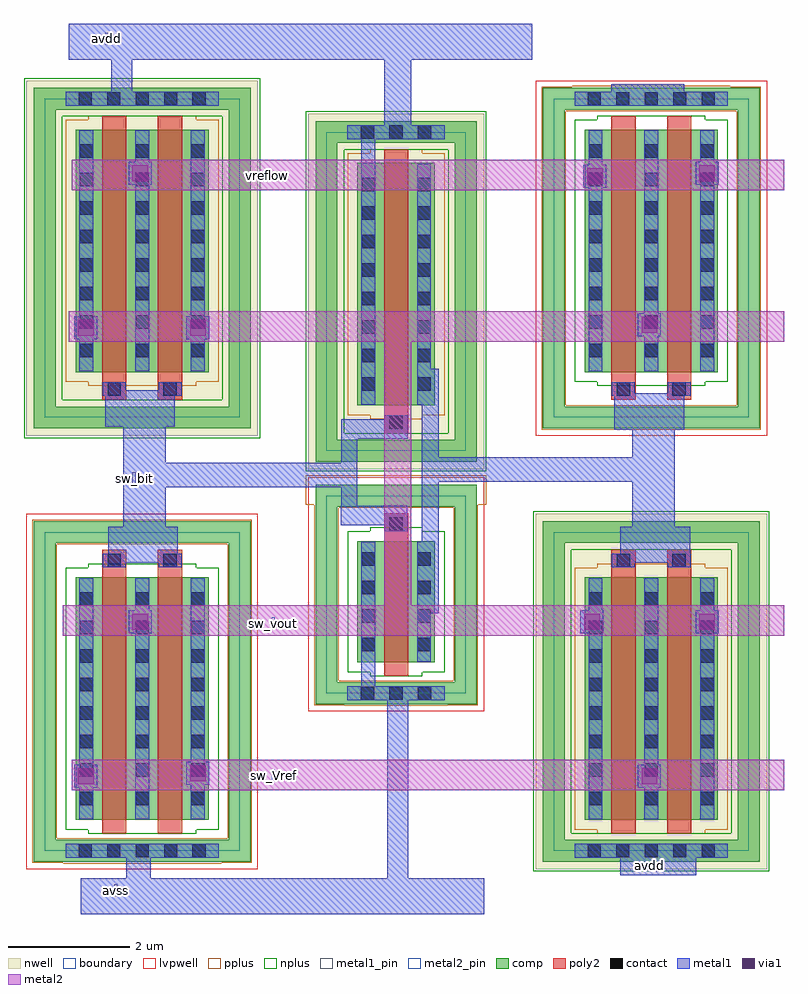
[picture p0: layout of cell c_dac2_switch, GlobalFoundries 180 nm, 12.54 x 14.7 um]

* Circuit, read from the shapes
.subckt c_dac2_switch avdd avss sw_Vref sw_bit sw_vout vreflow
XM1 sw_vout sw_bit sw_Vref avss nfet_03v3 w=4u l=0.4u m=2
XM2 CDAC_INV_V0_4/out sw_bit avss avss nfet_03v3 w=2u l=0.4u
XM3 sw_vout CDAC_INV_V0_4/out vreflow avss nfet_03v3 w=4u l=0.4u m=2
XM4 vreflow sw_bit sw_vout avdd pfet_03v3 w=4u l=0.4u m=2
XM5 CDAC_INV_V0_4/out sw_bit avdd avdd pfet_03v3 w=4u l=0.4u
XM6 sw_Vref CDAC_INV_V0_4/out sw_vout avdd pfet_03v3 w=4u l=0.4u m=2
.ends

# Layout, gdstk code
import gdstk
lib = gdstk.Library(unit=1e-6, precision=1e-09)
def R(c, l, rs):  # rectangles x0, y0, x1, y1
    for r in rs: c.add(gdstk.rectangle(r[:2], r[2:], *l))
def A(c, l, x, y, w, h, nx, ny, dx, dy):  # array of equal rectangles
    R(c, l, [(x+i*dx, y+j*dy, x+i*dx+w, y+j*dy+h) for i in range(nx) for j in range(ny)])
boundary = (0, 0)
nwell = (21, 0)
comp = (22, 0)
poly2 = (30, 0)
pplus = (31, 0)
nplus = (32, 0)
contact = (33, 0)
metal1 = (34, 0)
metal1_pin = (34, 10)
via1 = (35, 0)
metal2 = (36, 0)
metal2_pin = (36, 10)
lvpwell = (204, 0)

pfet_03v3_yxqa8c = lib.new_cell('pfet_03v3_YXQA8C')
R(pfet_03v3_yxqa8c, boundary, [(-1.61,-2.63,1.61,2.63)])
R(pfet_03v3_yxqa8c, nwell, [(-1.91,-2.93,1.91,2.93)])
R(pfet_03v3_yxqa8c, comp, [(-1.79,-2.81,1.79,-2.45), (-1.79,-2.45,-1.43,2.45), (1.43,-2.45,1.79,2.45), (-1.1,-1.88,1.1,2.12), (-1.79,2.45,1.79,2.81)])
R(pfet_03v3_yxqa8c, poly2, [(-0.66,-2.34,-0.26,2.34), (0.26,-2.34,0.66,2.34)])
R(pfet_03v3_yxqa8c, pplus, [(-0.89,-2.11,0.89,-2.04), (-1.26,-2.04,1.26,2.28), (-0.89,2.28,0.89,2.35)])
R(pfet_03v3_yxqa8c, nplus, [(-1.95,-2.97,1.95,-2.34), (-1.95,-2.34,-1.32,2.34), (1.32,-2.34,1.95,2.34), (-1.95,2.34,1.95,2.97)])
A(pfet_03v3_yxqa8c, contact, -1.03, -1.635, 0.22, 0.22, 3, 8, 0.92, 0.47)
A(pfet_03v3_yxqa8c, contact, -1.05, 2.52, 0.22, 0.22, 5, 1, 0.47, 0)
R(pfet_03v3_yxqa8c, contact, [(-0.57,-2.27,-0.35,-2.05), (0.35,-2.27,0.57,-2.05)])
A(pfet_03v3_yxqa8c, metal1, -1.035, -1.87, 0.23, 3.98, 3, 1, 0.92, 0)
R(pfet_03v3_yxqa8c, metal1, [(-0.65,-2.275,-0.27,-2.045), (0.27,-2.275,0.65,-2.045), (-1.265,2.515,1.265,2.745)])

nfet_03v3_qetw5r = lib.new_cell('nfet_03v3_QETW5R')
R(nfet_03v3_qetw5r, boundary, [(-1.61,-2.63,1.61,2.63)])
R(nfet_03v3_qetw5r, comp, [(-1.79,-2.81,1.79,-2.45), (-1.79,-2.45,-1.43,2.45), (1.43,-2.45,1.79,2.45), (-1.1,-2.12,1.1,1.88), (-1.79,2.45,1.79,2.81)])
R(nfet_03v3_qetw5r, poly2, [(-0.66,-2.34,-0.26,2.34), (0.26,-2.34,0.66,2.34)])
R(nfet_03v3_qetw5r, pplus, [(-1.305,-2.84,1.305,-2.83), (-1.81,-2.83,1.81,-2.42), (-1.81,-2.42,-1.41,2.43), (1.41,-2.42,1.81,2.43), (-1.81,2.43,1.81,2.83)])
R(nfet_03v3_qetw5r, nplus, [(-0.89,-2.35,0.89,-2.28), (-1.26,-2.28,1.26,2.04), (-0.89,2.04,0.89,2.11)])
A(nfet_03v3_qetw5r, contact, -1.05, -2.74, 0.22, 0.22, 5, 1, 0.47, 0)
A(nfet_03v3_qetw5r, contact, -1.03, -1.875, 0.22, 0.22, 3, 8, 0.92, 0.47)
R(nfet_03v3_qetw5r, contact, [(-0.57,2.05,-0.35,2.27), (0.35,2.05,0.57,2.27)])
A(nfet_03v3_qetw5r, metal1, -1.035, -2.11, 0.23, 3.98, 3, 1, 0.92, 0)
R(nfet_03v3_qetw5r, metal1, [(-1.265,-2.745,1.265,-2.515), (-0.65,2.045,-0.27,2.275), (0.27,2.045,0.65,2.275)])
R(nfet_03v3_qetw5r, lvpwell, [(-1.91,-2.93,1.91,2.93)])

pfet_03v3_yxha8c = lib.new_cell('pfet_03v3_YXHA8C')
R(pfet_03v3_yxha8c, boundary, [(-1.15,-2.63,1.15,2.63)])
R(pfet_03v3_yxha8c, nwell, [(-1.45,-2.93,1.45,2.93)])
R(pfet_03v3_yxha8c, comp, [(-1.33,-2.81,1.33,-2.45), (-1.33,-2.45,-0.97,2.45), (0.97,-2.45,1.33,2.45), (-0.64,-1.88,0.64,2.12), (-1.33,2.45,1.33,2.81)])
R(pfet_03v3_yxha8c, poly2, [(-0.2,-2.34,0.2,2.34)])
R(pfet_03v3_yxha8c, pplus, [(-0.43,-2.11,0.43,-2.04), (-0.8,-2.04,0.8,2.28), (-0.43,2.28,0.43,2.35)])
R(pfet_03v3_yxha8c, nplus, [(-1.49,-2.97,1.49,-2.34), (-1.49,-2.34,-0.86,2.34), (0.86,-2.34,1.49,2.34), (-1.49,2.34,1.49,2.97)])
A(pfet_03v3_yxha8c, contact, -0.57, -1.635, 0.22, 0.22, 1, 8, 0, 0.47)
A(pfet_03v3_yxha8c, contact, 0.35, -1.635, 0.22, 0.22, 1, 8, 0, 0.47)
A(pfet_03v3_yxha8c, contact, -0.58, 2.52, 0.22, 0.22, 3, 1, 0.47, 0)
R(pfet_03v3_yxha8c, contact, [(-0.11,-2.27,0.11,-2.05)])
R(pfet_03v3_yxha8c, metal1, [(-0.19,-2.275,0.19,-2.045), (-0.575,-1.87,-0.345,2.11), (0.345,-1.87,0.575,2.11), (-0.805,2.515,0.805,2.745)])

nfet_03v3_q7us5r = lib.new_cell('nfet_03v3_Q7US5R')
R(nfet_03v3_q7us5r, boundary, [(-1.15,-1.63,1.15,1.63)])
R(nfet_03v3_q7us5r, comp, [(-1.33,-1.81,1.33,-1.45), (-1.33,-1.45,-0.97,1.45), (0.97,-1.45,1.33,1.45), (-0.64,-1.12,0.64,0.88), (-1.33,1.45,1.33,1.81)])
R(nfet_03v3_q7us5r, poly2, [(-0.2,-1.34,0.2,1.34)])
R(nfet_03v3_q7us5r, pplus, [(-0.845,-1.84,0.845,-1.83), (-1.35,-1.83,1.35,-1.42), (-1.35,-1.42,-0.95,1.43), (0.95,-1.42,1.35,1.43), (-1.35,1.43,1.35,1.83)])
R(nfet_03v3_q7us5r, nplus, [(-0.43,-1.35,0.43,-1.28), (-0.8,-1.28,0.8,1.04), (-0.43,1.04,0.43,1.11)])
A(nfet_03v3_q7us5r, contact, -0.58, -1.74, 0.22, 0.22, 3, 1, 0.47, 0)
A(nfet_03v3_q7us5r, contact, -0.57, -0.935, 0.22, 0.22, 1, 4, 0, 0.47)
A(nfet_03v3_q7us5r, contact, 0.35, -0.935, 0.22, 0.22, 1, 4, 0, 0.47)
R(nfet_03v3_q7us5r, contact, [(-0.11,1.05,0.11,1.27)])
R(nfet_03v3_q7us5r, metal1, [(-0.805,-1.745,0.805,-1.515), (-0.575,-1.11,-0.345,0.87), (0.345,-1.11,0.575,0.87), (-0.19,1.045,0.19,1.275)])
R(nfet_03v3_q7us5r, lvpwell, [(-1.45,-1.93,1.45,1.93)])

cdac_inv_v0 = lib.new_cell('CDAC_INV_V0')
R(cdac_inv_v0, pplus, [(4.76,-0.99,4.9,-0.64), (7.6,-0.99,7.74,-0.64), (4.76,-0.64,7.74,-0.5)])
R(cdac_inv_v0, metal1, [(5.675,-4.215,5.905,-2.46), (6.675,-2.78,6.955,1.255), (5.34,-1.33,6.435,-1.005), (5.345,-1.005,5.605,0.1), (5.345,0.1,6.44,0.425), (5.675,3.52,5.905,5.275)])
cdac_inv_v0.add(gdstk.Reference(pfet_03v3_yxha8c, (6.25,2.53)))
cdac_inv_v0.add(gdstk.Reference(nfet_03v3_q7us5r, (6.25,-2.47)))
cdac_inv_v0.add(gdstk.Label('avdd', (5.695,4.797), layer=34, texttype=10))
cdac_inv_v0.add(gdstk.Label('in', (5.38,-0.542), layer=34, texttype=10))
cdac_inv_v0.add(gdstk.Label('out', (6.695,-0.572), layer=34, texttype=10))
cdac_inv_v0.add(gdstk.Label('avss', (5.735,-3.802), layer=34, texttype=10))

c_dac2_switch = lib.new_cell('c_dac2_switch')
R(c_dac2_switch, metal1, [(8.6,-6.6,15.25,-6), (9.35,-6,9.75,-5.65), (13.65,-6,14,-3.05), (17.5,-5.95,18.75,-5.6), (8.49,-4.51,8.87,-4.13), (17.79,-4.51,18.17,-4.13), (10.34,-4.46,10.72,-4.08), (9.39,-1.96,9.77,-1.58), (16.84,-1.96,17.22,-1.58), (18.74,-1.96,19.12,-1.58), (9.05,-0.8,10.2,-0.2), (17.5,-0.8,18.65,-0.2), (9.3,-0.2,10,0.45), (17.7,-0.2,18.4,0.54), (9.3,0.45,13.15,0.85), (14.35,0.54,18.4,0.94), (9.3,0.85,10,1.45), (17.7,0.94,18.4,1.4), (17.4,1.4,18.55,2), (9,1.45,10.15,2.05), (8.49,2.89,8.87,3.27), (10.34,2.89,10.72,3.27), (17.79,2.94,18.17,3.32), (16.89,5.39,17.27,5.77), (9.39,5.44,9.77,5.82), (18.74,5.44,19.12,5.82), (13.6,6.35,14.05,7.5), (9.1,6.85,9.45,7.5), (17.35,6.85,18.55,7.1), (8.4,7.5,16.05,8.1)])
R(c_dac2_switch, metal1_pin, [(9.15,-6.3,9.2,-6.1), (9.45,0.5,9.5,0.7), (9,7.75,9.05,7.95)])
R(c_dac2_switch, via1, [(8.55,-4.45,8.81,-4.19), (17.85,-4.45,18.11,-4.19), (10.4,-4.4,10.66,-4.14), (9.45,-1.9,9.71,-1.64), (16.9,-1.9,17.16,-1.64), (18.8,-1.9,19.06,-1.64), (8.55,2.95,8.81,3.21), (10.4,2.95,10.66,3.21), (17.85,3,18.11,3.26), (16.95,5.45,17.21,5.71), (9.45,5.5,9.71,5.76), (18.8,5.5,19.06,5.76)])
R(c_dac2_switch, metal2, [(8.45,-4.55,20.2,-4.05), (8.3,-2,20.2,-1.5), (13.6,-1.5,14.05,2.85), (8.4,2.85,20.2,3.35), (8.45,5.35,20.2,5.85)])
R(c_dac2_switch, metal2_pin, [(11.75,-4.4,11.8,-4.2), (11.75,-1.9,11.8,-1.7), (11.65,5.5,11.7,5.7)])
c_dac2_switch.add(gdstk.Reference(pfet_03v3_yxqa8c, (9.61,4.23)))
c_dac2_switch.add(gdstk.Reference(nfet_03v3_qetw5r, (9.61,-2.92)))
c_dac2_switch.add(gdstk.Reference(pfet_03v3_yxqa8c, (18.01,-2.92), x_reflection=True))
c_dac2_switch.add(gdstk.Reference(nfet_03v3_qetw5r, (18.01,4.23), x_reflection=True))
c_dac2_switch.add(gdstk.Reference(cdac_inv_v0, (7.55,1.15)))
c_dac2_switch.add(gdstk.Label('avdd', (17.975,-5.8), layer=34, texttype=0))
c_dac2_switch.add(gdstk.Label('sw_vout', (11.775,-1.8), layer=36, texttype=10))
c_dac2_switch.add(gdstk.Label('sw_bit', (9.475,0.6), layer=34, texttype=10))
c_dac2_switch.add(gdstk.Label('avss', (9.175,-6.2), layer=34, texttype=10))
c_dac2_switch.add(gdstk.Label('avdd', (9.025,7.85), layer=34, texttype=10))
c_dac2_switch.add(gdstk.Label('sw_Vref', (11.775,-4.3), layer=36, texttype=10))
c_dac2_switch.add(gdstk.Label('vreflow', (11.675,5.6), layer=36, texttype=10))

lib.write_gds('c_dac2_switch.gds')
